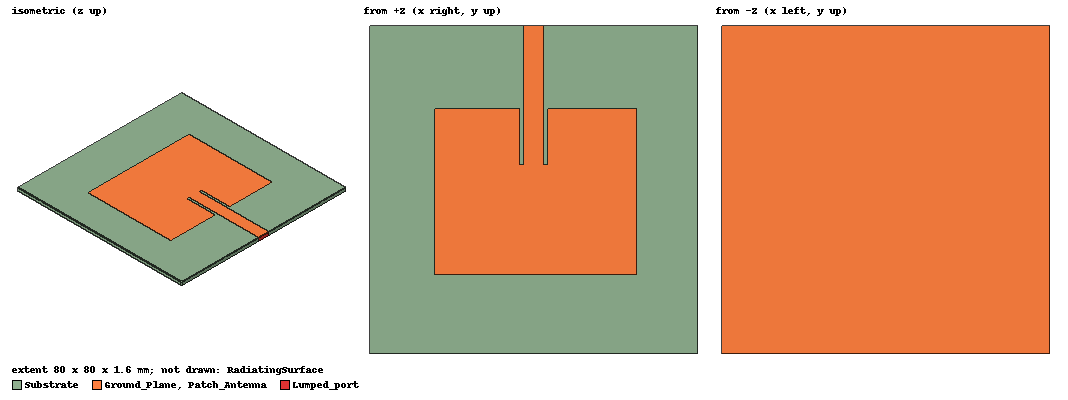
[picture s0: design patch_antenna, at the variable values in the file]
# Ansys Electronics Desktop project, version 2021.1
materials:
  vacuum: permittivity=1
  copper: permeability=0.999991 conductivity=58000000
  Rogers RT/duroid 5880 (tm): permittivity=2.2 dielectric_loss_tangent=0.0009

design patch_antenna (HFSS, DrivenModal, model units mm)
options: Calculate_Lossy_Dielectrics
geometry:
  point Point1 = (-8mm, -30mm, 0mm)
  point Point2 = (-6mm, -30mm, 0mm)
  point Point3 = (-8mm, -30mm, 0mm)
  point Point4 = (2mm, -16mm, 0mm)
  Substrate [Rogers RT/duroid 5880 (tm)] = box(corner=(-40mm, -40mm, 0mm), size=(80mm, 80mm, 1.6mm))
  Ground_Plane = rectangle(corner=(-40mm, -40mm, 0mm), x_size=80mm, y_size=80mm)
  Lumped_port = rectangle(corner=(-2.5mm, 40mm, 0mm), z_size=1.6mm, x_size=5mm)
  RadiatingSurface [vacuum] = region(absolute_offset=41.666667mm on all sides)
  Rect = rectangle(corner=(-3.5mm, 6mm, 1.6mm), x_size=7mm, y_size=14.66mm)
  Patch_Antenna = rectangle(corner=(-24.19mm, -20.65mm, 1.6mm), x_size=49.38mm, y_size=40.5mm)
  Patch_Antenna.subtract(Rect)
  Feed = rectangle(corner=(-2.5mm, 6mm, 1.6mm), x_size=5mm, y_size=34mm)
  Patch_Antenna.unite(Feed)
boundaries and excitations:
  Finite_conductivity: Finite Conductivity Objects=Ground_Plane UseMaterial Material=copper IsInternal
  Open1: Radiation Objects=RadiatingSurface
  Finite_conductivity_6: Finite Conductivity Objects=Patch_Antenna UseMaterial Material=copper IsInternal
  LumpedPort1: Lumped Port Objects=Lumped_port Modes{Mode1{IntLine{middle of Lumped_port.edge(z at corner) -> middle of Lumped_port.edge(z opposite corner)} CharImp=Zpi RenormImp=50ohm}} Impedance=50ohm
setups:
  setup6: HfssDrivenAuto AutoSolverSetting="Higher Speed" Type=Interpolating
    sweep Sweep: 0GHz to 10GHz, 501 points;
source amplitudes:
  LumpedPort1:1: 1W 0deg
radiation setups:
  3D: Infinite Sphere Theta=0deg..180deg step 2deg Phi=-180deg..180deg step 2deg
  Elevation: Infinite Sphere Theta=-180deg..180deg step 1deg Phi=0deg..90deg step 90deg
  Azimuth: Infinite Sphere Theta=90deg..90deg step 0deg Phi=-180deg..180deg step 1deg
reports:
  S_param_6: dB(S(1,1)) vs Freq on setup6 : Sweep
  S_param_table_6: dB(S(1,1)) vs Freq on setup6 : Sweep
